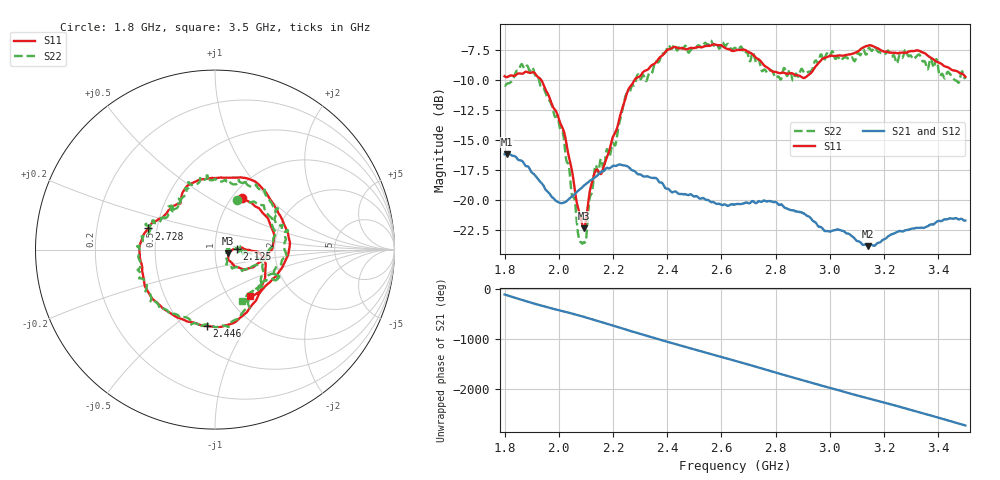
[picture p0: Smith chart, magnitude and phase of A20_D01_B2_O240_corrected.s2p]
! Created with skrf 1.9.0 (http://scikit-rf.org).
# Hz S RI R 50.0
!freq ReS11 ImS11 ReS21 ImS21 ReS12 ImS12 ReS22 ImS22
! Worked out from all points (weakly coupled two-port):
!   1601 points, 1.8 GHz to 3.5 GHz, reference 50 ohm
!   highest |S21| = -16.14 dB at 1.81 GHz (marker M1); lowest = -23.8 dB at 3.142 GHz (marker M2)
!   lowest |S11| = -22.3 dB at 2.092 GHz (marker M3), VSWR 1.17, Z = 57.9 - j2.46 ohm
!   |S11| at or under -10 dB: 1.935 GHz to 2.28 GHz (344.8 MHz wide, 16.4 % of centre)
!   |S22| runs from -23.6 to -6.7 dB; largest |S21 - S12| = 0.003
!   S11 on the Smith chart (normalised r, x): 1.8 GHz: 1.11, +0.72; 2.125 GHz: 1.28, +0.01; 2.446 GHz: 0.64, -0.67; 2.728 GHz: 0.45, +0.12; 3.5 GHz: 1.25, -0.73
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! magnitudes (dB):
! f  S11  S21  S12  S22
! 1.8 GHz  -9.7  -16.2  -16.2  -10.5
! 1.81 GHz  -9.8  -16.1  -16.2  -10.3
! 1.861 GHz  -9.5  -16.7  -16.8  -8.7
! 1.901 GHz  -9.4  -17.7  -17.6  -9.0
! 1.968 GHz  -11.6  -19.5  -19.6  -11.8
! 2.015 GHz  -14.0  -20.2  -20.2  -14.4
! 2.084 GHz  -21.7  -19.0  -18.9  -23.5
! 2.092 GHz  -22.3  -18.8  -18.9  -23.5
! 2.125 GHz  -18.3  -18.2  -18.2  -18.9
! 2.16 GHz  -17.6  -17.6  -17.6  -17.0
! 2.209 GHz  -14.3  -17.1  -17.1  -15.4
! 2.249 GHz  -11.3  -17.1  -17.1  -11.2
! 2.367 GHz  -8.3  -18.4  -18.3  -8.5
! 2.446 GHz  -7.4  -19.5  -19.5  -7.1
! 2.65 GHz  -7.6  -20.3  -20.3  -7.3
! 2.728 GHz  -8.2  -20.2  -20.3  -8.6
! 2.813 GHz  -9.4  -20.4  -20.3  -9.8
! 2.934 GHz  -9.4  -21.6  -21.6  -9.2
! 3.142 GHz  -7.2  -23.8  -23.7  -7.4
! 3.217 GHz  -7.7  -22.9  -22.9  -7.6
! 3.328 GHz  -7.6  -22.3  -22.3  -7.9
! 3.5 GHz  -9.7  -21.7  -21.7  -9.8
